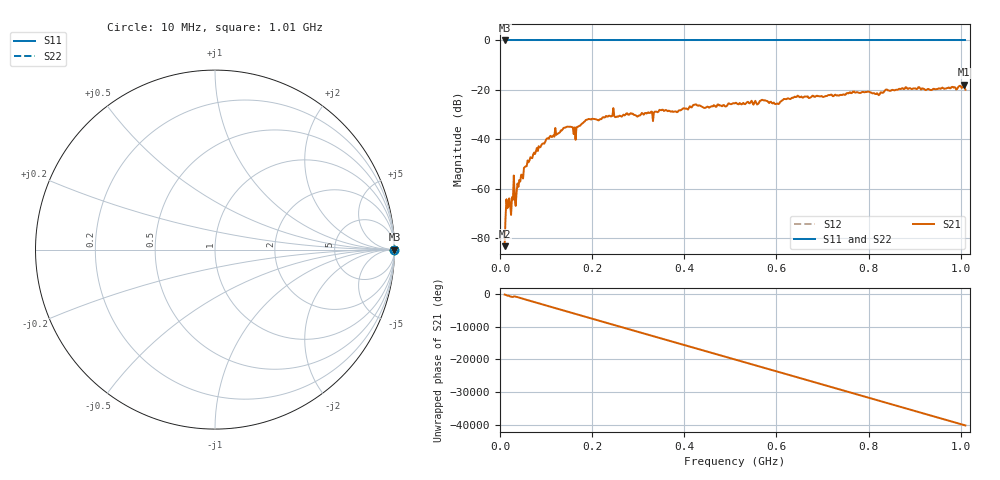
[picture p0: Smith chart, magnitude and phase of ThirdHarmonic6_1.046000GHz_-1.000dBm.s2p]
! 8/16/2025 9:10:16 AM
! C:\ANRITSUVNA\TEMP\TEMP.S2P
! CHANNEL.1
! TR.MEASUREMENT
! RAW.DATA
! RF.CORRECTION.OFF
! AVERAGING.OFF
! IF.BANDWIDTH: 5KHZ
! SWEEPTYPE:  FREQ.SWEEP(Linear)
! Reference Plane Port Info
! PORT:  PORT1  PORT2
! DISTANCE:  0  m  0  m
! TIME:  0  s  0  s
! PHASE.OFFSET:  0  deg.  0  deg.
! LOSS:  0  dB  0  dB
! REF.LOSS:  0  dB  0  dB
! REF.FREQ:  0  Hz  0  Hz
! Power Info
! POWER:  -20  dBm  -20  dBm
! EFF.POWER:  -20  dBm  -20  dBm
! SOURCE.ATTEN:  0  dB  0  dB
! TEST.ATTEN:  0  dB  0  dB
# GHZ S RI R 50.0
! FREQ.GHZ  S11RE  S11IM  S21RE  S21IM  S12RE  S12IM  S22RE  S22IM
!; PortSelection: Port_12
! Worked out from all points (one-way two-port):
!   501 points, 10 MHz to 1.01 GHz, reference 50 ohm
!   highest |S21| = -17.93 dB at 1.006 GHz (marker M1); lowest = -83.2 dB at 10 MHz (marker M2)
!   lowest |S11| = 0.0 dB at 10 MHz (marker M3)
!   |S11| at or under -10 dB: nowhere
!   |S22| runs from 0.0 to 0.0 dB; largest |S21 - S12| = 1.1
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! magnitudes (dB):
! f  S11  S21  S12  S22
! 10 MHz  0.0  -83.2  0.0  0.0
! 18 MHz  0.0  -67.2  0.0  0.0
! 20 MHz  0.0  -63.9  0.0  0.0
! 34 MHz  0.0  -66.9  0.0  0.0
! 36 MHz  0.0  -61.3  0.0  0.0
! 42 MHz  0.0  -56.4  0.0  0.0
! 56 MHz  0.0  -50.9  0.0  0.0
! 76 MHz  0.0  -45.9  0.0  0.0
! 140 MHz  0.0  -35.3  0.0  0.0
! 164 MHz  0.0  -40.2  0.0  0.0
! 178 MHz  0.0  -33.6  0.0  0.0
! 242 MHz  0.0  -30.7  0.0  0.0
! 300 MHz  0.0  -30.6  0.0  0.0
! 344 MHz  0.0  -28.8  0.0  0.0
! 510 MHz  0.0  -25.5  0.0  0.0
! 572 MHz  0.0  -24.3  0.0  0.0
! 602 MHz  0.0  -25.5  0.0  0.0
! 642 MHz  0.0  -22.9  0.0  0.0
! 678 MHz  0.0  -22.4  0.0  0.0
! 844 MHz  0.0  -20.2  0.0  0.0
! 1.006 GHz  0.0  -17.9  0.0  0.0
! 1.01 GHz  0.0  -19.9  0.0  0.0
